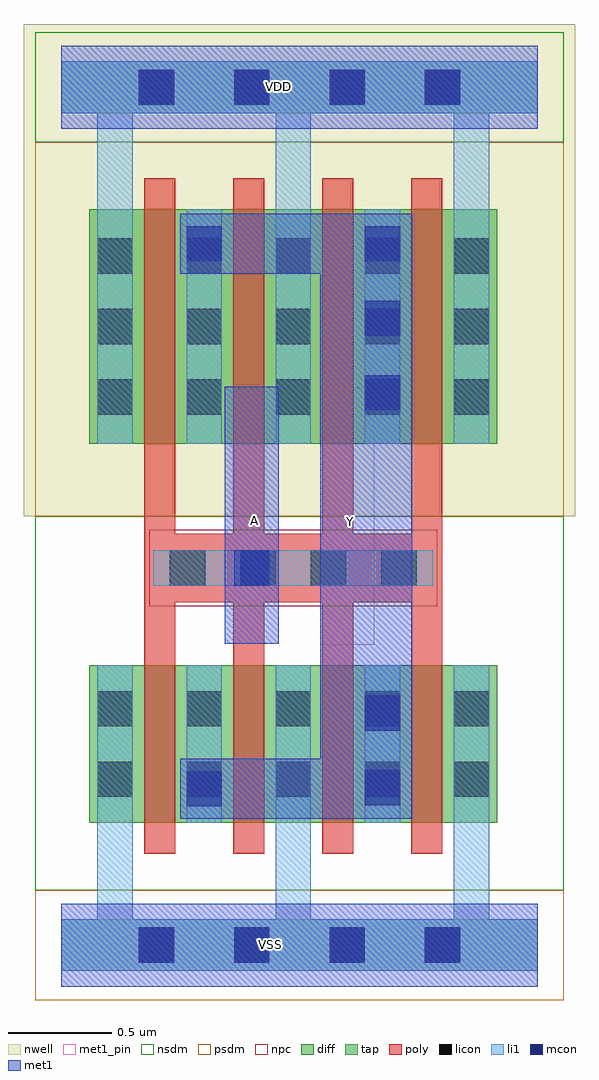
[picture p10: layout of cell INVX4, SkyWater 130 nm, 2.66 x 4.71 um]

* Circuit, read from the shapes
.subckt INVX4 A VDD VSS Y
XM1 Y A VSS VSS sky130_fd_pr__nfet_01v8 w=0.76 l=0.15 m=4
XM2 Y A VDD VDD sky130_fd_pr__pfet_01v8 w=1.13 l=0.15 m=4
.ends

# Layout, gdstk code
import gdstk
lib = gdstk.Library(unit=1e-6, precision=1e-09)
def R(c, l, rs):  # rectangles x0, y0, x1, y1
    for r in rs: c.add(gdstk.rectangle(r[:2], r[2:], *l))
def A(c, l, x, y, w, h, nx, ny, dx, dy):  # array of equal rectangles
    R(c, l, [(x+i*dx, y+j*dy, x+i*dx+w, y+j*dy+h) for i in range(nx) for j in range(ny)])
nwell = (64, 20)
diff = (65, 20)
tap = (65, 44)
poly = (66, 20)
licon = (66, 44)
li1 = (67, 20)
mcon = (67, 44)
met1_pin = (68, 16)
met1 = (68, 20)
nsdm = (93, 44)
psdm = (94, 20)
npc = (95, 20)

pfet_01v8_cdns_716492285 = lib.new_cell('pfet_01v8_CDNS_71649228522158')
R(pfet_01v8_cdns_716492285, nwell, [(-0.445,-0.18,1.885,1.31)])
A(pfet_01v8_cdns_716492285, diff, 0, 0, 0.15, 1.13, 4, 1, 0.43, 0)
A(pfet_01v8_cdns_716492285, diff, 0.15, 0, 0.28, 1.13, 3, 1, 0.43, 0)
R(pfet_01v8_cdns_716492285, diff, [(-0.265,0,0,1.13), (1.44,0,1.705,1.13)])
A(pfet_01v8_cdns_716492285, poly, 0, -0.15, 0.15, 0.055, 4, 2, 0.43, 1.375)
A(pfet_01v8_cdns_716492285, poly, 0, -0.095, 0.15, 0.095, 4, 2, 0.43, 1.225)
A(pfet_01v8_cdns_716492285, poly, 0, 0, 0.15, 1.13, 4, 1, 0.43, 0)
A(pfet_01v8_cdns_716492285, licon, -0.225, 0.14, 0.17, 0.17, 5, 3, 0.43, 0.34)
A(pfet_01v8_cdns_716492285, li1, -0.225, 0, 0.17, 1.13, 5, 1, 0.43, 0)
R(pfet_01v8_cdns_716492285, psdm, [(-0.405,-0.13,1.845,1.26)])

nfet_01v8_cdns_716492285 = lib.new_cell('nfet_01v8_CDNS_7164922852269')
A(nfet_01v8_cdns_716492285, diff, 0, 0, 0.15, 0.76, 4, 1, 0.43, 0)
A(nfet_01v8_cdns_716492285, diff, 0.15, 0, 0.28, 0.76, 3, 1, 0.43, 0)
R(nfet_01v8_cdns_716492285, diff, [(-0.265,0,0,0.76), (1.44,0,1.705,0.76)])
A(nfet_01v8_cdns_716492285, poly, 0, -0.15, 0.15, 0.055, 4, 2, 0.43, 1.005)
A(nfet_01v8_cdns_716492285, poly, 0, -0.095, 0.15, 0.095, 4, 2, 0.43, 0.855)
A(nfet_01v8_cdns_716492285, poly, 0, 0, 0.15, 0.76, 4, 1, 0.43, 0)
A(nfet_01v8_cdns_716492285, licon, -0.225, 0.125, 0.17, 0.17, 5, 2, 0.43, 0.34)
A(nfet_01v8_cdns_716492285, li1, -0.225, 0, 0.17, 0.76, 5, 1, 0.43, 0)
R(nfet_01v8_cdns_716492285, nsdm, [(-0.405,-0.13,1.845,0.89)])

l1m1_c_cdns_716492285223 = lib.new_cell('L1M1_C_CDNS_716492285223')
R(l1m1_c_cdns_716492285223, li1, [(-0.165,-0.085,0.165,0.085)])
R(l1m1_c_cdns_716492285223, mcon, [(-0.085,-0.085,0.085,0.085)])
R(l1m1_c_cdns_716492285223, met1, [(-0.115,-0.145,0.115,0.145)])

l1m1_c_cdns_716492285224 = lib.new_cell('L1M1_C_CDNS_716492285224')
R(l1m1_c_cdns_716492285224, li1, [(-0.085,-0.525,0.085,0.525)])
A(l1m1_c_cdns_716492285224, mcon, -0.085, -0.445, 0.17, 0.17, 1, 3, 0, 0.36)
R(l1m1_c_cdns_716492285224, met1, [(-0.115,-0.505,0.115,0.505)])

pyl1con_c_cdns_716492285 = lib.new_cell('PYL1CON_C_CDNS_716492285220')
R(pyl1con_c_cdns_716492285, poly, [(-0.135,-0.165,0.135,0.165)])
R(pyl1con_c_cdns_716492285, licon, [(-0.085,-0.085,0.085,0.085)])
R(pyl1con_c_cdns_716492285, npc, [(-0.185,-0.185,0.185,0.185)])

l1m1_c_cdns_716492285222 = lib.new_cell('L1M1_C_CDNS_716492285222')
R(l1m1_c_cdns_716492285222, li1, [(-0.085,-0.165,0.085,0.165)])
R(l1m1_c_cdns_716492285222, mcon, [(-0.085,-0.085,0.085,0.085)])
R(l1m1_c_cdns_716492285222, met1, [(-0.115,-0.145,0.115,0.145)])

l1m1_c_cdns_716492285225 = lib.new_cell('L1M1_C_CDNS_716492285225')
R(l1m1_c_cdns_716492285225, li1, [(-0.085,-0.345,0.085,0.345)])
R(l1m1_c_cdns_716492285225, mcon, [(-0.085,-0.265,0.085,-0.095), (-0.085,0.095,0.085,0.265)])
R(l1m1_c_cdns_716492285225, met1, [(-0.115,-0.325,0.115,0.325)])

invx4 = lib.new_cell('INVX4')
R(invx4, nwell, [(-0.18,2.07,2.48,4.305), (-0.18,3.875,2.48,4.445)])
A(invx4, poly, 0.4, 1.5, 0.15, 0.775, 4, 1, 0.43, 0)
R(invx4, poly, [(0.4,1.655,1.84,1.985)])
R(invx4, licon, [(0.375,-0.085,0.545,0.085), (0.375,-0.085,0.545,0.085), (0.835,-0.085,1.005,0.085), (0.835,-0.085,1.005,0.085), (1.295,-0.085,1.465,0.085), (1.295,-0.085,1.465,0.085), (1.755,-0.085,1.925,0.085), (1.755,-0.085,1.925,0.085), (0.375,4.055,0.545,4.225), (0.375,4.055,0.545,4.225), (0.835,4.055,1.005,4.225), (0.835,4.055,1.005,4.225), (1.295,4.055,1.465,4.225), (1.295,4.055,1.465,4.225), (1.755,4.055,1.925,4.225), (1.755,4.055,1.925,4.225)])
A(invx4, li1, 0.175, 0.005, 0.17, 0.59, 3, 1, 0.86, 0)
R(invx4, li1, [(0.175,3.55,0.345,4.125), (1.035,3.55,1.205,4.125), (1.895,3.55,2.065,4.12)])
R(invx4, mcon, [(0.375,-0.085,0.545,0.085), (0.375,-0.085,0.545,0.085), (0.835,-0.085,1.005,0.085), (0.835,-0.085,1.005,0.085), (1.295,-0.085,1.465,0.085), (1.295,-0.085,1.465,0.085), (1.755,-0.085,1.925,0.085), (1.755,-0.085,1.925,0.085), (0.375,4.055,0.545,4.225), (0.375,4.055,0.545,4.225), (0.835,4.055,1.005,4.225), (0.835,4.055,1.005,4.225), (1.295,4.055,1.465,4.225), (1.295,4.055,1.465,4.225), (1.755,4.055,1.925,4.225), (1.755,4.055,1.925,4.225)])
R(invx4, met1_pin, [(1.25,1.45,1.51,2.69), (0.79,1.455,1.05,2.695)])
R(invx4, met1, [(1.25,0.61,1.695,3.53)])
R(invx4, nsdm, [(-0.125,0.265,2.425,2.07), (-0.125,3.875,2.425,4.405), (-0.125,3.875,2.425,4.405), (-0.125,3.93,2.425,4.35), (-0.125,3.93,2.425,4.35)])
R(invx4, psdm, [(-0.125,-0.265,2.425,0.265), (-0.125,-0.21,2.425,0.21), (-0.125,2.07,2.425,3.875)])
R(invx4, npc, [(0.425,1.635,1.815,2.005)])
invx4.add(gdstk.FlexPath([(0.445,1.82),(1.795,1.82)], 0.17, ends="flush", simple_path=True, layer=67, datatype=20))  # li1
invx4.add(gdstk.FlexPath([(2.215,0),(0,0)], 0.25, ends=(0.085, 0), simple_path=True, layer=67, datatype=20))  # li1
invx4.add(gdstk.FlexPath([(2.215,0),(0,0)], 0.25, ends=(0.085, 0), simple_path=True, layer=67, datatype=20))  # li1
invx4.add(gdstk.FlexPath([(2.215,4.14),(0,4.14)], 0.25, ends=(0.085, 0), simple_path=True, layer=67, datatype=20))  # li1
invx4.add(gdstk.FlexPath([(2.215,4.14),(0,4.14)], 0.25, ends=(0.085, 0), simple_path=True, layer=67, datatype=20))  # li1
invx4.add(gdstk.FlexPath([(1.55,0.755),(0.69,0.755)], 0.29, ends=(0.145, 0), simple_path=True, layer=68, datatype=20))  # met1
invx4.add(gdstk.FlexPath([(0.92,1.455),(0.92,2.695)], 0.26, ends="flush", simple_path=True, layer=68, datatype=20))  # met1
invx4.add(gdstk.FlexPath([(1.38,0.61),(1.38,3.53)], 0.26, ends="flush", simple_path=True, layer=68, datatype=20))  # met1
invx4.add(gdstk.FlexPath([(1.55,3.385),(0.69,3.385)], 0.29, ends=(0.145, 0), simple_path=True, layer=68, datatype=20))  # met1
invx4.add(gdstk.FlexPath([(0,0),(2.3,0)], 0.4, ends="flush", simple_path=True, layer=68, datatype=20))  # met1
invx4.add(gdstk.FlexPath([(0,4.14),(2.3,4.14)], 0.4, ends="flush", simple_path=True, layer=68, datatype=20))  # met1
invx4.add(gdstk.FlexPath([(0,0),(2.3,0)], 0.4, ends="flush", simple_path=True, layer=68, datatype=16))  # met1_pin
invx4.add(gdstk.FlexPath([(0,4.14),(2.3,4.14)], 0.4, ends="flush", simple_path=True, layer=68, datatype=16))  # met1_pin
invx4.add(gdstk.FlexPath([(0,4.14),(2.3,4.14)], 0.4, ends="flush", simple_path=True, layer=68, datatype=16))  # met1_pin
invx4.add(gdstk.FlexPath([(0,0),(2.3,0)], 0.4, ends="flush", simple_path=True, layer=68, datatype=16))  # met1_pin
invx4.add(gdstk.FlexPath([(0,4.14),(2.3,4.14)], 0.25, ends="flush", simple_path=True, layer=65, datatype=44))  # tap
invx4.add(gdstk.FlexPath([(0,0),(2.3,0)], 0.25, ends="flush", simple_path=True, layer=65, datatype=44))  # tap
invx4.add(gdstk.FlexPath([(0,4.14),(2.3,4.14)], 0.25, ends="flush", simple_path=True, layer=65, datatype=44))  # tap
invx4.add(gdstk.FlexPath([(0,0),(2.3,0)], 0.25, ends="flush", simple_path=True, layer=65, datatype=44))  # tap
invx4.add(gdstk.Reference(pfet_01v8_cdns_716492285, (0.4,2.42)))
invx4.add(gdstk.Reference(nfet_01v8_cdns_716492285, (0.4,0.59)))
invx4.add(gdstk.Reference(l1m1_c_cdns_716492285223, (0.92,1.82), x_reflection=True))
invx4.add(gdstk.Reference(l1m1_c_cdns_716492285224, (1.55,3.025)))
invx4.add(gdstk.Reference(pyl1con_c_cdns_716492285, (1.63,1.82)))
invx4.add(gdstk.Reference(pyl1con_c_cdns_716492285, (1.29,1.82)))
invx4.add(gdstk.Reference(pyl1con_c_cdns_716492285, (0.95,1.82)))
invx4.add(gdstk.Reference(pyl1con_c_cdns_716492285, (0.61,1.82)))
invx4.add(gdstk.Reference(l1m1_c_cdns_716492285222, (0.69,3.385)))
invx4.add(gdstk.Reference(l1m1_c_cdns_716492285222, (0.69,0.755)))
invx4.add(gdstk.Reference(l1m1_c_cdns_716492285225, (1.55,0.94)))
invx4.add(gdstk.Label('VDD', (1.05,4.145), layer=68, texttype=5))
invx4.add(gdstk.Label('A', (0.935,2.05), layer=68, texttype=5))
invx4.add(gdstk.Label('Y', (1.395,2.045), layer=68, texttype=5))
invx4.add(gdstk.Label('VSS', (1.01,0.005), layer=68, texttype=5))

lib.write_gds('INVX4.gds')
